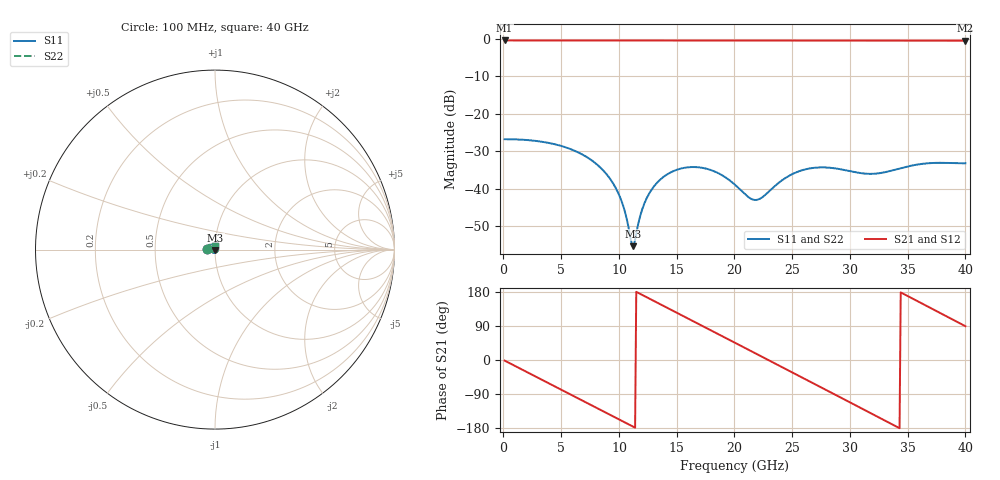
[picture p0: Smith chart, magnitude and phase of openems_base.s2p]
! thru_ts6_L1: 2×thru, L1, 8 mm
! stackup: ThunderScope Rev5.3 6-layer (FR408HR / FR-4, from the board file)
! ports: 1, 2
! openEMS 0.37.0, staircase, base mesh (dfine 0.035 mm), 365568 cells
# Hz S RI R 50
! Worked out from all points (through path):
!   400 points, 100 MHz to 40 GHz, reference 50 ohm
!   highest |S21| = -0.41 dB at 100 MHz (marker M1); lowest = -0.5 dB at 40 GHz (marker M2)
!   group delay of S21, straight-line fit = 43.8 ps
!   lowest |S11| = -55.3 dB at 11.2 GHz (marker M3), VSWR 1.00, Z = 50.1 - j0.132 ohm
!   |S11| at or under -10 dB: start of sweep to end of sweep
!   |S22| runs from -55.3 to -26.8 dB; largest |S21 - S12| = 0
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1e8  -0.0459 0.000844  0.9536 -0.0261  0.9536 -0.0261  -0.0459 0.000844
1.9e9  -0.0421 0.0158  0.8281 -0.4733  0.8281 -0.4733  -0.0421 0.0158
3.8e9  -0.0304 0.0279  0.4841 -0.8218  0.4841 -0.8218  -0.0304 0.0279
6.8e9  -0.00417 0.0286  -0.2707 -0.9143  -0.2707 -0.9143  -0.00417 0.0286
9.7e9  0.00659 0.00806  -0.841 -0.4483  -0.841 -0.4483  0.00659 0.00806
1.04e10  0.00484 0.00303  -0.9109 -0.28  -0.9109 -0.28  0.00484 0.00303
1.12e10  0.0011 -0.00132  -0.9498 -0.0755  -0.9498 -0.0755  0.0011 -0.00132
1.22e10  -0.00509 -0.00382  -0.9347 0.1841  -0.9347 0.1841  -0.00509 -0.00382
1.34e10  -0.0123 -0.00202  -0.8252 0.4758  -0.8252 0.4758  -0.0123 -0.00202
1.68e10  -0.0111 0.0159  -0.1098 0.9459  -0.1098 0.9459  -0.0111 0.0159
1.84e10  -0.000316 0.0167  0.303 0.9026  0.303 0.9026  -0.000316 0.0167
2.01e10  0.00789 0.00785  0.6768 0.6691  0.6768 0.6691  0.00789 0.00785
2.18e10  0.00567 -0.00427  0.9053 0.2921  0.9053 0.2921  0.00567 -0.00427
2.33e10  -0.00402 -0.00938  0.946 -0.0956  0.946 -0.0956  -0.00402 -0.00938
2.49e10  -0.0147 -0.00452  0.8145 -0.4898  0.8145 -0.4898  -0.0147 -0.00452
2.67e10  -0.0165 0.00918  0.4828 -0.8184  0.4828 -0.8184  -0.0165 0.00918
2.83e10  -0.00626 0.018  0.0865 -0.946  0.0865 -0.946  -0.00626 0.018
2.98e10  0.00739 0.0158  -0.302 -0.9005  -0.302 -0.9005  0.00739 0.0158
3.34e10  0.00732 -0.0155  -0.9194 -0.2346  -0.9194 -0.2346  0.00732 -0.0155
3.63e10  -0.0199 -0.00836  -0.8056 0.4996  -0.8056 0.4996  -0.0199 -0.00836
3.82e10  -0.0182 0.0127  -0.4438 0.8372  -0.4438 0.8372  -0.0182 0.0127
4e10  0.00166 0.0219  0.0131 0.9469  0.0131 0.9469  0.00166 0.0219
